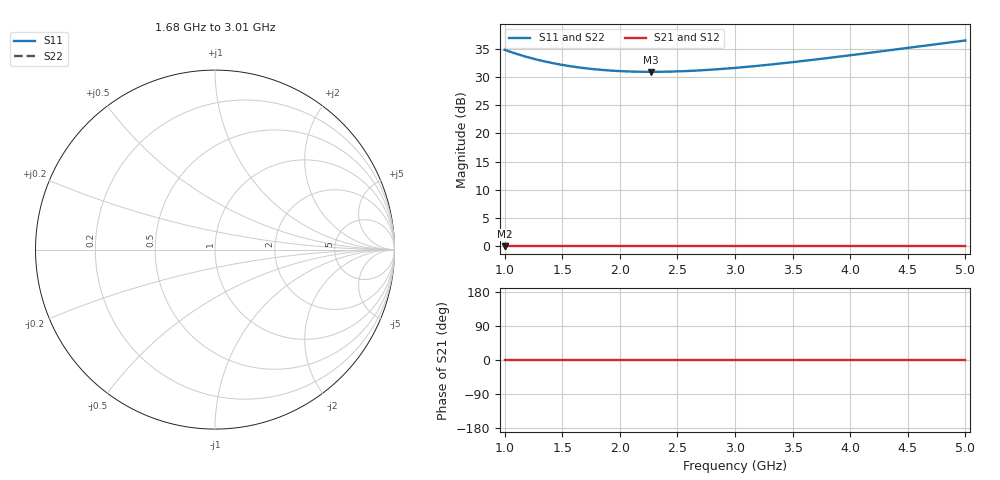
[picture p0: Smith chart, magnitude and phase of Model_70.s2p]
# GHZ S RI R 50
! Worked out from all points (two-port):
!   401 points, 1 GHz to 5 GHz, reference 50 ohm
!   highest |S21| = 0.00 dB at 1 GHz (marker M1); lowest = 0.0 dB at 1 GHz (marker M2)
!   |S21| within 3 dB of the highest: start of sweep to end of sweep
!   lowest |S11| = 30.9 dB at 2.27 GHz (marker M3)
!   |S11| at or under -10 dB: nowhere
!   |S22| runs from 30.9 to 36.5 dB; largest |S21 - S12| = 0
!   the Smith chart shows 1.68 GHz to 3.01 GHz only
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1  54.95 0  1 0  1 0  54.95 0
1.15  48.88 0  1 0  1 0  48.88 0
1.22  46.65 0  1 0  1 0  46.65 0
1.3  44.47 0  1 0  1 0  44.47 0
1.38  42.62 0  1 0  1 0  42.62 0
1.47  40.88 0  1 0  1 0  40.88 0
1.57  39.3 0  1 0  1 0  39.3 0
1.67  38.03 0  1 0  1 0  38.03 0
1.81  36.7 0  1 0  1 0  36.7 0
1.95  35.8 0  1 0  1 0  35.8 0
2.11  35.22 0  1 0  1 0  35.22 0
2.27  35.03 0  1 0  1 0  35.03 0
2.34  35.06 0  1 0  1 0  35.06 0
2.5  35.35 0  1 0  1 0  35.35 0
2.66  35.93 0  1 0  1 0  35.93 0
3  37.97 0  1 0  1 0  37.97 0
3.33  40.88 0  1 0  1 0  40.88 0
3.67  44.7 0  1 0  1 0  44.7 0
4  49.14 0  1 0  1 0  49.14 0
4.34  54.4 0  1 0  1 0  54.4 0
4.63  59.41 0  1 0  1 0  59.41 0
5  66.47 0  1 0  1 0  66.47 0
